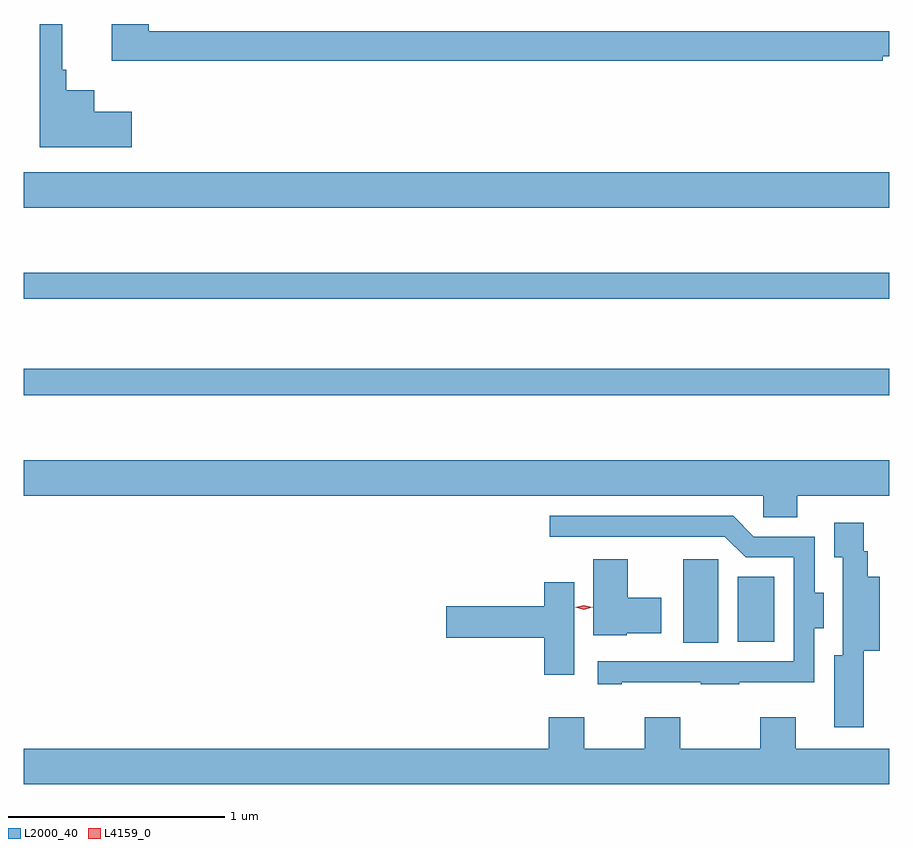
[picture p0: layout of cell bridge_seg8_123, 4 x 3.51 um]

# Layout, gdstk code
import gdstk
lib = gdstk.Library(unit=1e-6, precision=1e-09)
def R(c, l, rs):  # rectangles x0, y0, x1, y1
    for r in rs: c.add(gdstk.rectangle(r[:2], r[2:], *l))
def P(c, l, *ps):  # polygons
    for p in ps: c.add(gdstk.Polygon(p, *l))
L2000_40 = (2000, 40)
L4159_0 = (4159, 0)

bridge_seg8_123 = lib.new_cell('bridge_seg8_123')
R(bridge_seg8_123, L2000_40, [(787.364,1146.457,787.528,1146.844), (787.616,1146.461,787.786,1146.763), (784.317,1147.602,788.317,1147.723), (784.317,1148.046,788.317,1148.167), (784.317,1148.468,788.317,1148.632)])
P(bridge_seg8_123, L2000_40, [(784.816,1148.911),(784.642,1148.911),(784.642,1149.01),(784.513,1149.01),(784.513,1149.106),(784.495,1149.106),(784.495,1149.317),(784.391,1149.317),(784.391,1148.747),(784.816,1148.747)],
  [(788.288,1149.167),(788.317,1149.167),(788.317,1149.284),(784.895,1149.284),(784.895,1149.317),(784.724,1149.317),(784.724,1149.148),(788.288,1149.148)],
  [(787.893,1147.136),(788.317,1147.136),(788.317,1147.3),(784.317,1147.3),(784.317,1147.136),(787.734,1147.136),(787.734,1147.038),(787.893,1147.038)],
  [(787.081,1146.275),(787.447,1146.275),(787.447,1146.264),(787.625,1146.264),(787.625,1146.275),(787.971,1146.275),(787.971,1146.524),(788.014,1146.524),(788.014,1146.688),(787.972,1146.688),(787.972,1146.948),(787.692,1146.948),(787.596,1147.044),(786.747,1147.044),(786.747,1146.948),(787.557,1146.948),(787.653,1146.852),(787.875,1146.852),(787.875,1146.372),(786.969,1146.372),(786.969,1146.264),(787.081,1146.264)],
  [(788.2,1146.419),(788.273,1146.419),(788.273,1146.763),(788.219,1146.763),(788.219,1146.879),(788.199,1146.879),(788.199,1147.012),(788.063,1147.012),(788.063,1146.851),(788.102,1146.851),(788.102,1146.4),(788.063,1146.4),(788.063,1146.066),(788.2,1146.066)],
  [(787.104,1146.5),(787.264,1146.5),(787.264,1146.664),(787.108,1146.664),(787.108,1146.844),(786.95,1146.844),(786.95,1146.491),(787.104,1146.491)],
  [(786.862,1146.736),(786.722,1146.736),(786.722,1146.626),(786.27,1146.626),(786.27,1146.479),(786.722,1146.479),(786.722,1146.309),(786.862,1146.309)],
  [(788.317,1145.968),(787.885,1145.968),(787.885,1146.112),(787.721,1146.112),(787.721,1145.968),(787.351,1145.968),(787.351,1146.112),(787.187,1146.112),(787.187,1145.968),(786.907,1145.968),(786.907,1146.112),(786.743,1146.112),(786.743,1145.968),(784.317,1145.968),(784.317,1145.804),(788.317,1145.804)])
P(bridge_seg8_123, L4159_0, [(786.906,1146.61),(786.866,1146.62),(786.866,1146.62),(786.866,1146.621),(786.906,1146.63),(786.946,1146.621),(786.946,1146.62),(786.946,1146.62)])

lib.write_gds('bridge_seg8_123.gds')
